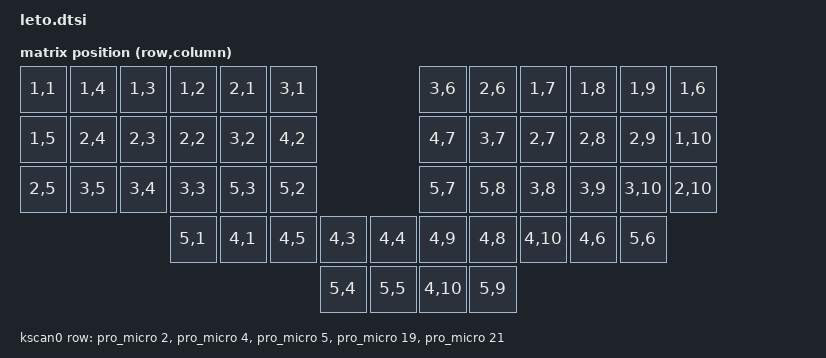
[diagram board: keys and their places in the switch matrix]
#include <dt-bindings/zmk/matrix_transform.h>

/ {
    chosen {
        zmk,kscan = &kscan0;
        zmk,matrix_transform = &default_transform;
    };

    default_transform: keymap_transform_0 {
        compatible = "zmk,matrix-transform";
        columns = <10>;
        rows = <5>;
// | SW6  | SW5  | SW4  | SW3  | SW2  | SW1  |                              | SW1  | SW2  | SW3  | SW4  | SW5  | SW6  |
// | SW12 | SW11 | SW10 | SW9  | SW8  | SW7  |                 		        | SW7  | SW8  | SW9  | SW10 | SW11 | SW12 |
// | SW18 | SW17 | SW16 | SW15 | SW14 | SW13 |                 			    | SW13 | SW14 | SW15 | SW16 | SW17 | SW18 |
// 		         		| SW25 | SW24 | SW23 | SW20 | SW19 |  | SW19 | SW20 | SW23 | SW24 | SW25 |
//               							 | SW22 | SW21 |  | SW21 | SW22 |
        map = <
RC(1,1) RC(1,4) RC(1,3) RC(1,2) RC(2,1) RC(3,1)                 				RC(3,6) RC(2,6) RC(1,7) RC(1,8) RC(1,9) RC(1,6)
RC(1,5) RC(2,4) RC(2,3) RC(2,2) RC(3,2) RC(4,2)                 				RC(4,7) RC(3,7) RC(2,7) RC(2,8) RC(2,9) RC(1,10)
RC(2,5) RC(3,5) RC(3,4) RC(3,3) RC(5,3) RC(5,2)                					RC(5,7) RC(5,8) RC(3,8) RC(3,9) RC(3,10)RC(2,10)
                		RC(5,1) RC(4,1) RC(4,5) RC(4,3)	RC(4,4)	RC(4,9)	RC(4,8) RC(4,10)RC(4,6)	RC(5,6)
                        						RC(5,4) RC(5,5)	RC(4,10)RC(5,9)
        >;
    };

    kscan0: kscan {
        compatible = "zmk,kscan-gpio-matrix";
        label = "KSCAN";

        diode-direction = "col2row";
        row-gpios
            = <&pro_micro 2 (GPIO_ACTIVE_HIGH | GPIO_PULL_DOWN)> // Row 1 from the drawing.
            , <&pro_micro 4 (GPIO_ACTIVE_HIGH | GPIO_PULL_DOWN)> // Row 2 from the drawing.
            , <&pro_micro 5 (GPIO_ACTIVE_HIGH | GPIO_PULL_DOWN)> // Row 3 from the drawing.
            , <&pro_micro 19 (GPIO_ACTIVE_HIGH | GPIO_PULL_DOWN)> // Row 4 from the drawing.
            , <&pro_micro 21 (GPIO_ACTIVE_HIGH | GPIO_PULL_DOWN)> // Row 5 from the drawing.
            ;

    };
};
